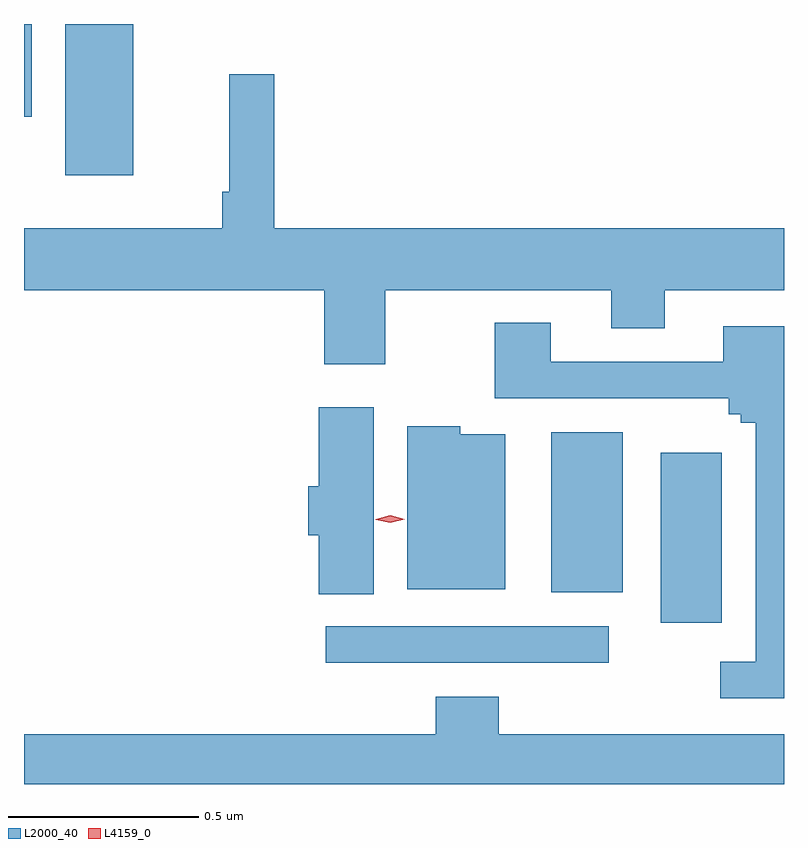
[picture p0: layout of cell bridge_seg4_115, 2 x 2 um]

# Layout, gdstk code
import gdstk
lib = gdstk.Library(unit=1e-6, precision=1e-09)
def R(c, l, rs):  # rectangles x0, y0, x1, y1
    for r in rs: c.add(gdstk.rectangle(r[:2], r[2:], *l))
def P(c, l, *ps):  # polygons
    for p in ps: c.add(gdstk.Polygon(p, *l))
L2000_40 = (2000, 40)
L4159_0 = (4159, 0)

bridge_seg4_115 = lib.new_cell('bridge_seg4_115')
R(bridge_seg4_115, L2000_40, [(364.281,787.848,365.026,787.944), (365.162,787.953,365.323,788.401), (364.874,788.033,365.062,788.455), (363.596,789.131,363.775,789.529), (363.487,789.285,363.508,789.529)])
P(bridge_seg4_115, L2000_40, [(364.437,788.828),(365.033,788.828),(365.033,788.729),(365.173,788.729),(365.173,788.828),(365.487,788.828),(365.487,788.992),(364.145,788.992),(364.145,789.397),(364.027,789.397),(364.027,789.088),(364.009,789.088),(364.009,788.992),(363.487,788.992),(363.487,788.828),(364.277,788.828),(364.277,788.634),(364.437,788.634)],
  [(365.487,788.734),(365.327,788.734),(365.327,788.64),(364.873,788.64),(364.873,788.743),(364.726,788.743),(364.726,788.544),(365.342,788.544),(365.342,788.502),(365.373,788.502),(365.373,788.48),(365.412,788.48),(365.412,787.851),(365.319,787.851),(365.319,787.755),(365.487,787.755)],
  [(364.408,788.521),(364.262,788.521),(364.262,788.313),(364.235,788.313),(364.235,788.183),(364.262,788.183),(364.262,788.029),(364.408,788.029)],
  [(364.753,788.449),(364.635,788.449),(364.635,788.47),(364.496,788.47),(364.496,788.042),(364.753,788.042)],
  [(365.487,787.66),(364.736,787.66),(364.736,787.759),(364.571,787.759),(364.571,787.66),(363.487,787.66),(363.487,787.529),(365.487,787.529)])
P(bridge_seg4_115, L4159_0, [(364.451,788.216),(364.413,788.225),(364.413,788.225),(364.413,788.226),(364.451,788.236),(364.489,788.226),(364.489,788.226),(364.489,788.226)])

lib.write_gds('bridge_seg4_115.gds')
